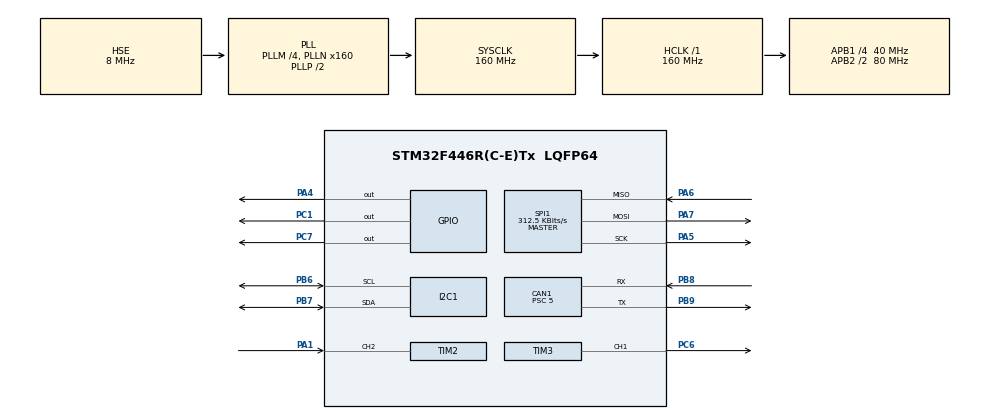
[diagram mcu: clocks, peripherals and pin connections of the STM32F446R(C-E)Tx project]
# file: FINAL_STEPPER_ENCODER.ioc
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CAN1.BS1=CAN_BS1_6TQ
CAN1.CalculateBaudRate=1000000
CAN1.CalculateTimeBit=1000
CAN1.CalculateTimeQuantum=125.0
CAN1.NART=ENABLE
CAN1.Prescaler=5
Mcu.Family=STM32F4
Mcu.Name=STM32F446R(C-E)Tx
Mcu.Package=LQFP64
NVIC.CAN1_RX0_IRQn=true\:0\:0\:false\:false\:true\:true\:true
NVIC.PriorityGroup=NVIC_PRIORITYGROUP_4
NVIC.TIM2_IRQn=true\:0\:0\:false\:false\:true\:true\:true
NVIC.TIM7_IRQn=true\:0\:0\:false\:false\:true\:true\:true
PA1.Signal=S_TIM2_CH2
PA13.Mode=Serial_Wire
PA13.Signal=SYS_JTMS-SWDIO
PA14.Mode=Serial_Wire
PA14.Signal=SYS_JTCK-SWCLK
PA4.Signal=GPIO_Output
PA5.Mode=Full_Duplex_Master
PA5.Signal=SPI1_SCK
PA6.Mode=Full_Duplex_Master
PA6.Signal=SPI1_MISO
PA7.Mode=Full_Duplex_Master
PA7.Signal=SPI1_MOSI
PB6.Mode=I2C
PB6.Signal=I2C1_SCL
PB7.Mode=I2C
PB7.Signal=I2C1_SDA
PB8.Mode=CAN_Activate
PB8.Signal=CAN1_RX
PB9.Mode=CAN_Activate
PB9.Signal=CAN1_TX
PC1.Signal=GPIO_Output
PC6.Signal=S_TIM3_CH1
PC7.Signal=GPIO_Output
PH0-OSC_IN.Mode=HSE-External-Oscillator
PH0-OSC_IN.Signal=RCC_OSC_IN
PH1-OSC_OUT.Mode=HSE-External-Oscillator
PH1-OSC_OUT.Signal=RCC_OSC_OUT
ProjectManager.HeapSize=0x2000
ProjectManager.StackSize=0x4000
ProjectManager.TargetToolchain=STM32CubeIDE
RCC.AHBFreq_Value=160000000
RCC.APB1CLKDivider=RCC_HCLK_DIV4
RCC.APB1Freq_Value=40000000
RCC.APB1TimFreq_Value=80000000
RCC.APB2CLKDivider=RCC_HCLK_DIV2
RCC.APB2Freq_Value=80000000
RCC.APB2TimFreq_Value=160000000
RCC.CortexFreq_Value=160000000
RCC.HCLKFreq_Value=160000000
RCC.HSE_VALUE=8000000
RCC.PLLM=4
RCC.PLLN=160
RCC.PLLSourceVirtual=RCC_PLLSOURCE_HSE
RCC.SYSCLKFreq_VALUE=160000000
RCC.SYSCLKSource=RCC_SYSCLKSOURCE_PLLCLK
RCC.USBFreq_Value=160000000
RCC.VCOOutputFreq_Value=320000000
SH.S_TIM2_CH2.0=TIM2_CH2,TriggerSource_TI2FP2
SH.S_TIM3_CH1.0=TIM3_CH1,PWM Generation1 CH1
SPI1.BaudRatePrescaler=SPI_BAUDRATEPRESCALER_256
SPI1.CLKPhase=SPI_PHASE_2EDGE
SPI1.CLKPolarity=SPI_POLARITY_HIGH
SPI1.CalculateBaudRate=312.5 KBits/s
SPI1.DataSize=SPI_DATASIZE_16BIT
SPI1.Direction=SPI_DIRECTION_2LINES
SPI1.Mode=SPI_MODE_MASTER
SPI1.VirtualType=VM_MASTER
TIM2.Period=1
TIM3.Channel-Output\ Compare2\ No\ Output=TIM_CHANNEL_2
TIM3.Channel-PWM\ Generation1\ CH1=TIM_CHANNEL_1
TIM3.OCMode_2=TIM_OCMODE_ACTIVE
TIM3.Prescaler=24
TIM3.TIM_MasterOutputTrigger=TIM_TRGO_OC2REF
TIM7.Period=15999
TIM7.Prescaler=249
VP_TIM2_VS_ControllerModeClock.Mode=Clock Mode
VP_TIM3_VS_no_output2.Mode=Output Compare2 No Output
VP_TIM7_VS_ClockSourceINT.Mode=Enable_Timer
board=custom

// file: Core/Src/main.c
/* USER CODE BEGIN Header */
/**
  ******************************************************************************
  * @file           : main.c
  * @brief          : Main program body
  ******************************************************************************
  * @attention
  *
  * Copyright (c) 2022 STMicroelectronics.
  * All rights reserved.
  *
  * This software is licensed under terms that can be found in the LICENSE file
  * in the root directory of this software component.
  * If no LICENSE file comes with this software, it is provided AS-IS.
  *
  ******************************************************************************
  */
/* USER CODE END Header */
#include "main.h"

CAN_HandleTypeDef hcan1;

I2C_HandleTypeDef hi2c1;

SPI_HandleTypeDef hspi1;

TIM_HandleTypeDef htim2;
TIM_HandleTypeDef htim3;
TIM_HandleTypeDef htim7;

/* USER CODE BEGIN PV */
// CAN Variables
uint8_t TxData[8];					// Data to be sent via CAN
uint64_t TxMailbox;					// CAN temporary mailbox. Required by HAL function
CAN_TxHeaderTypeDef TxHeader;		// Header for can message
CAN_FilterTypeDef canfilterconfig;	// Filter for receiving CAN messages
uint8_t RxData[8];					// data received from can bus
CAN_RxHeaderTypeDef   RxHeader;		// header received by can bus

//CAN Functions
int CAN_Header_Config(CAN_TxHeaderTypeDef* TxHeader);	// Configures CAN message header.
int CAN_Filter_Config(CAN_FilterTypeDef* canfilterconfig);	// COnfigures filter for CAN message reception
int CAN_Starter(CAN_HandleTypeDef* hcan,CAN_FilterTypeDef* canfilterconfig);	//Starts CAN transmittions and receptions
void configure_tim7(); // configures tim7 prescaler and period, not updated during code genetration

// Variables for motor control and feedback
float angle_rad;	//current angle
float target_velocity = 0;
float target_angle = 0;
float velocity = 0;

// set to 1  if the last goal has been reached.
char goal_status = 0;
// set to 1  if the servo stall has been detected.
char stall_status = 0;

int stepper_step_denominator = 1;

// Functions for motor settings adjustment
void CTRL_Reg_Set();
void TORQUE_Reg_Set();
void STATUS_Reg_Set();
uint16_t RegAccess(uint8_t operation, uint8_t address, uint16_t value); // Sends or receives SPI message

// a bunch of flags to be check via debugger
int flag = 0;	// just a flag
// flag that is being incremented at every tim7 interrupt and reset to zero on CAN message reception.
// if flag_tim7 exceeds certain value (currently 20) the motor will stop.
// This has been implemented in order to prevent mass destruction
// if the computer that controls the motor stops working
int flag_tim7 = 0;
int flag_tim2 = 0;

/* USER CODE END PV */

void SystemClock_Config(void);
static void MX_GPIO_Init(void);
static void MX_CAN1_Init(void);
static void MX_SPI1_Init(void);
static void MX_TIM7_Init(void);
static void MX_I2C1_Init(void);
static void MX_TIM3_Init(void);
static void MX_TIM2_Init(void);

int main(void)
{

  /* MCU Configuration--------------------------------------------------------*/

  /* Reset of all peripherals, Initializes the Flash interface and the Systick. */
  HAL_Init();

  /* Configure the system clock */
  SystemClock_Config();

  /* Initialize all configured peripherals */
  MX_GPIO_Init();
  MX_CAN1_Init();
  MX_SPI1_Init();
  MX_TIM7_Init();
  MX_I2C1_Init();
  MX_TIM3_Init();
  MX_TIM2_Init();
  /* USER CODE BEGIN 2 */
  // initialize motor
    HAL_GPIO_WritePin(GPIOC, GPIO_PIN_1, GPIO_PIN_SET);
    HAL_Delay(1);
    TORQUE_Reg_Set();
    HAL_Delay(1);
    CTRL_Reg_Set();

    // encoder does not require initialization

    //initialize CAN
    CAN_Header_Config(&TxHeader);		// Sets header values
    CAN_Filter_Config(&canfilterconfig);// Seds filter values
    CAN_Starter(&hcan1, &canfilterconfig); // starts can

    // enable user timer interrupt
    configure_tim7();
    HAL_TIM_Base_Start_IT(&htim7);
    HAL_TIM_Base_Start_IT(&htim2);
    //start motor PWM
    HAL_TIM_PWM_Start(&htim3, TIM_CHANNEL_1);

  /* USER CODE END 2 */

  /* Infinite loop */
  while (1)
  {
  }
}

void SystemClock_Config(void)
{
  RCC_OscInitTypeDef RCC_OscInitStruct = {0};
  RCC_ClkInitTypeDef RCC_ClkInitStruct = {0};

  /** Configure the main internal regulator output voltage
  */
  __HAL_RCC_PWR_CLK_ENABLE();
  __HAL_PWR_VOLTAGESCALING_CONFIG(PWR_REGULATOR_VOLTAGE_SCALE1);
  /** Initializes the RCC Oscillators according to the specified parameters
  * in the RCC_OscInitTypeDef structure.
  */
  RCC_OscInitStruct.OscillatorType = RCC_OSCILLATORTYPE_HSE;
  RCC_OscInitStruct.HSEState = RCC_HSE_ON;
  RCC_OscInitStruct.PLL.PLLState = RCC_PLL_ON;
  RCC_OscInitStruct.PLL.PLLSource = RCC_PLLSOURCE_HSE;
  RCC_OscInitStruct.PLL.PLLM = 4;
  RCC_OscInitStruct.PLL.PLLN = 160;
  RCC_OscInitStruct.PLL.PLLP = RCC_PLLP_DIV2;
  RCC_OscInitStruct.PLL.PLLQ = 2;
  RCC_OscInitStruct.PLL.PLLR = 2;
  if (HAL_RCC_OscConfig(&RCC_OscInitStruct) != HAL_OK)
  {
    Error_Handler();
  }
  /** Initializes the CPU, AHB and APB buses clocks
  */
  RCC_ClkInitStruct.ClockType = RCC_CLOCKTYPE_HCLK|RCC_CLOCKTYPE_SYSCLK
                              |RCC_CLOCKTYPE_PCLK1|RCC_CLOCKTYPE_PCLK2;
  RCC_ClkInitStruct.SYSCLKSource = RCC_SYSCLKSOURCE_PLLCLK;
  RCC_ClkInitStruct.AHBCLKDivider = RCC_SYSCLK_DIV1;
  RCC_ClkInitStruct.APB1CLKDivider = RCC_HCLK_DIV4;
  RCC_ClkInitStruct.APB2CLKDivider = RCC_HCLK_DIV2;

  if (HAL_RCC_ClockConfig(&RCC_ClkInitStruct, FLASH_LATENCY_5) != HAL_OK)
  {
    Error_Handler();
  }
}

static void MX_CAN1_Init(void)
{

  hcan1.Instance = CAN1;
  hcan1.Init.Prescaler = 5;
  hcan1.Init.Mode = CAN_MODE_NORMAL;
  hcan1.Init.SyncJumpWidth = CAN_SJW_1TQ;
  hcan1.Init.TimeSeg1 = CAN_BS1_6TQ;
  hcan1.Init.TimeSeg2 = CAN_BS2_1TQ;
  hcan1.Init.TimeTriggeredMode = DISABLE;
  hcan1.Init.AutoBusOff = DISABLE;
  hcan1.Init.AutoWakeUp = DISABLE;
  hcan1.Init.AutoRetransmission = ENABLE;
  hcan1.Init.ReceiveFifoLocked = DISABLE;
  hcan1.Init.TransmitFifoPriority = DISABLE;
  if (HAL_CAN_Init(&hcan1) != HAL_OK)
  {
    Error_Handler();
  }

}

static void MX_I2C1_Init(void)
{

  hi2c1.Instance = I2C1;
  hi2c1.Init.ClockSpeed = 100000;
  hi2c1.Init.DutyCycle = I2C_DUTYCYCLE_2;
  hi2c1.Init.OwnAddress1 = 0;
  hi2c1.Init.AddressingMode = I2C_ADDRESSINGMODE_7BIT;
  hi2c1.Init.DualAddressMode = I2C_DUALADDRESS_DISABLE;
  hi2c1.Init.OwnAddress2 = 0;
  hi2c1.Init.GeneralCallMode = I2C_GENERALCALL_DISABLE;
  hi2c1.Init.NoStretchMode = I2C_NOSTRETCH_DISABLE;
  if (HAL_I2C_Init(&hi2c1) != HAL_OK)
  {
    Error_Handler();
  }

}

static void MX_SPI1_Init(void)
{

  /* SPI1 parameter configuration*/
  hspi1.Instance = SPI1;
  hspi1.Init.Mode = SPI_MODE_MASTER;
  hspi1.Init.Direction = SPI_DIRECTION_2LINES;
  hspi1.Init.DataSize = SPI_DATASIZE_16BIT;
  hspi1.Init.CLKPolarity = SPI_POLARITY_HIGH;
  hspi1.Init.CLKPhase = SPI_PHASE_2EDGE;
  hspi1.Init.NSS = SPI_NSS_SOFT;
  hspi1.Init.BaudRatePrescaler = SPI_BAUDRATEPRESCALER_256;
  hspi1.Init.FirstBit = SPI_FIRSTBIT_MSB;
  hspi1.Init.TIMode = SPI_TIMODE_DISABLE;
  hspi1.Init.CRCCalculation = SPI_CRCCALCULATION_DISABLE;
  hspi1.Init.CRCPolynomial = 10;
  if (HAL_SPI_Init(&hspi1) != HAL_OK)
  {
    Error_Handler();
  }

}

static void MX_TIM2_Init(void)
{

  TIM_SlaveConfigTypeDef sSlaveConfig = {0};
  TIM_MasterConfigTypeDef sMasterConfig = {0};

  htim2.Instance = TIM2;
  htim2.Init.Prescaler = 0;
  htim2.Init.CounterMode = TIM_COUNTERMODE_UP;
  htim2.Init.Period = 1;
  htim2.Init.ClockDivision = TIM_CLOCKDIVISION_DIV1;
  htim2.Init.AutoReloadPreload = TIM_AUTORELOAD_PRELOAD_DISABLE;
  if (HAL_TIM_Base_Init(&htim2) != HAL_OK)
  {
    Error_Handler();
  }
  sSlaveConfig.SlaveMode = TIM_SLAVEMODE_EXTERNAL1;
  sSlaveConfig.InputTrigger = TIM_TS_TI2FP2;
  sSlaveConfig.TriggerPolarity = TIM_TRIGGERPOLARITY_RISING;
  sSlaveConfig.TriggerFilter = 0;
  if (HAL_TIM_SlaveConfigSynchro(&htim2, &sSlaveConfig) != HAL_OK)
  {
    Error_Handler();
  }
  sMasterConfig.MasterOutputTrigger = TIM_TRGO_RESET;
  sMasterConfig.MasterSlaveMode = TIM_MASTERSLAVEMODE_DISABLE;
  if (HAL_TIMEx_MasterConfigSynchronization(&htim2, &sMasterConfig) != HAL_OK)
  {
    Error_Handler();
  }

}

static void MX_TIM3_Init(void)
{

  TIM_MasterConfigTypeDef sMasterConfig = {0};
  TIM_OC_InitTypeDef sConfigOC = {0};

  htim3.Instance = TIM3;
  htim3.Init.Prescaler = 24;
  htim3.Init.CounterMode = TIM_COUNTERMODE_UP;
  htim3.Init.Period = 65535;
  htim3.Init.ClockDivision = TIM_CLOCKDIVISION_DIV1;
  htim3.Init.AutoReloadPreload = TIM_AUTORELOAD_PRELOAD_DISABLE;
  if (HAL_TIM_PWM_Init(&htim3) != HAL_OK)
  {
    Error_Handler();
  }
  if (HAL_TIM_OC_Init(&htim3) != HAL_OK)
  {
    Error_Handler();
  }
  sMasterConfig.MasterOutputTrigger = TIM_TRGO_OC2REF;
  sMasterConfig.MasterSlaveMode = TIM_MASTERSLAVEMODE_DISABLE;
  if (HAL_TIMEx_MasterConfigSynchronization(&htim3, &sMasterConfig) != HAL_OK)
  {
    Error_Handler();
  }
  sConfigOC.OCMode = TIM_OCMODE_PWM1;
  sConfigOC.Pulse = 0;
  sConfigOC.OCPolarity = TIM_OCPOLARITY_HIGH;
  sConfigOC.OCFastMode = TIM_OCFAST_DISABLE;
  if (HAL_TIM_PWM_ConfigChannel(&htim3, &sConfigOC, TIM_CHANNEL_1) != HAL_OK)
  {
    Error_Handler();
  }
  sConfigOC.OCMode = TIM_OCMODE_ACTIVE;
  if (HAL_TIM_OC_ConfigChannel(&htim3, &sConfigOC, TIM_CHANNEL_2) != HAL_OK)
  {
    Error_Handler();
  }
  HAL_TIM_MspPostInit(&htim3);

}

static void MX_TIM7_Init(void)
{

  TIM_MasterConfigTypeDef sMasterConfig = {0};

  htim7.Instance = TIM7;
  htim7.Init.Prescaler = 249;
  htim7.Init.CounterMode = TIM_COUNTERMODE_UP;
  htim7.Init.Period = 15999;
  htim7.Init.AutoReloadPreload = TIM_AUTORELOAD_PRELOAD_DISABLE;
  if (HAL_TIM_Base_Init(&htim7) != HAL_OK)
  {
    Error_Handler();
  }
  sMasterConfig.MasterOutputTrigger = TIM_TRGO_RESET;
  sMasterConfig.MasterSlaveMode = TIM_MASTERSLAVEMODE_DISABLE;
  if (HAL_TIMEx_MasterConfigSynchronization(&htim7, &sMasterConfig) != HAL_OK)
  {
    Error_Handler();
  }

}

static void MX_GPIO_Init(void)
{
  GPIO_InitTypeDef GPIO_InitStruct = {0};

  /* GPIO Ports Clock Enable */
  __HAL_RCC_GPIOH_CLK_ENABLE();
  __HAL_RCC_GPIOC_CLK_ENABLE();
  __HAL_RCC_GPIOA_CLK_ENABLE();
  __HAL_RCC_GPIOB_CLK_ENABLE();

  /*Configure GPIO pin Output Level */
  HAL_GPIO_WritePin(GPIOC, GPIO_PIN_1|GPIO_PIN_7, GPIO_PIN_RESET);

  /*Configure GPIO pin Output Level */
  HAL_GPIO_WritePin(GPIOA, GPIO_PIN_4, GPIO_PIN_RESET);

  /*Configure GPIO pins : PC1 PC7 */
  GPIO_InitStruct.Pin = GPIO_PIN_1|GPIO_PIN_7;
  GPIO_InitStruct.Mode = GPIO_MODE_OUTPUT_PP;
  GPIO_InitStruct.Pull = GPIO_NOPULL;
  GPIO_InitStruct.Speed = GPIO_SPEED_FREQ_LOW;
  HAL_GPIO_Init(GPIOC, &GPIO_InitStruct);

  /*Configure GPIO pin : PA4 */
  GPIO_InitStruct.Pin = GPIO_PIN_4;
  GPIO_InitStruct.Mode = GPIO_MODE_OUTPUT_PP;
  GPIO_InitStruct.Pull = GPIO_NOPULL;
  GPIO_InitStruct.Speed = GPIO_SPEED_FREQ_LOW;
  HAL_GPIO_Init(GPIOA, &GPIO_InitStruct);

}

/* USER CODE BEGIN 4 */

int CAN_Filter_Config(CAN_FilterTypeDef* canfilterconfig){
	canfilterconfig->FilterActivation = CAN_FILTER_ENABLE;
	canfilterconfig->FilterBank = 0;  // which filter bank to use from the assigned ones
	canfilterconfig->FilterFIFOAssignment = CAN_FILTER_FIFO0;
	canfilterconfig->FilterMode = CAN_FILTERMODE_IDMASK;
	canfilterconfig->FilterScale = CAN_FILTERSCALE_32BIT;
	canfilterconfig->FilterIdHigh = 0x0000;
	canfilterconfig->FilterIdLow = 0x0000;
	canfilterconfig->FilterMaskIdHigh = 0x0000;
	canfilterconfig->FilterMaskIdLow = 0x0000;
	canfilterconfig->SlaveStartFilterBank = 20;
	return 1;
}

int CAN_Header_Config(CAN_TxHeaderTypeDef* TxHeader){
	TxHeader->IDE = CAN_ID_STD;
	TxHeader->StdId = MY_CAN_ID;
	TxHeader->RTR = CAN_RTR_DATA;
	TxHeader->DLC = 8;
	return 1;
}

int CAN_Starter(CAN_HandleTypeDef* hcan,CAN_FilterTypeDef* canfilterconfig){
	if (HAL_CAN_ConfigFilter(hcan, canfilterconfig) != HAL_OK){		// attempting to register can filter
			Error_Handler();
		}
		if (HAL_CAN_Start(hcan) != HAL_OK){		// attempting to start CAN
			Error_Handler();
		}
		if (HAL_CAN_ActivateNotification(hcan, CAN_IT_RX_FIFO0_MSG_PENDING) != HAL_OK){	// attempting to enable CAN interrupts.
			Error_Handler();								// CAN1_RX0_IRQHandler() is called when an interrupt is triggered
		}
	return 1;
}

void CTRL_Reg_Set(){
	uint16_t TX = 0x0000;
	TX += (0x03 << 10); // 850 ns dead time
	TX += (0x03 << 8); // Gain of 40
	TX += (((int)sqrt(stepper_step_denominator)) << 3); // 1/4 step
	TX += 0x01 ; // Enable motor
	RegAccess(WRITE, 0x00, TX); // write CTRL Register (Address = 0x00)
	return;
}

void TORQUE_Reg_Set(){
	uint16_t TX = 0x0000;
	TX += (0x01 << 8); // sample time = 100 us
	TX += 0x01; // Torque = 0x3F
//	TX = 0b0001000100000001;
	RegAccess(WRITE, 0x01, TX); // write TORQUE Register (Address = 0x01)
	return;
}

void STATUS_Reg_Set(){
	RegAccess(WRITE, 0x07, 0x0000); // write STATUS Register (Address = 0x00)
}

uint16_t RegAccess(uint8_t operation, uint8_t address, uint16_t value)
{
  uint16_t parcel = value;

  parcel += (address << 12); // register address
  parcel += (operation << 15); // read-write operation choice

  uint16_t received = 0;

  HAL_GPIO_WritePin(GPIOA, GPIO_PIN_4, GPIO_PIN_SET);
 // HAL_Delay(1);
  HAL_SPI_TransmitReceive(&hspi1, (uint8_t*)&parcel, (uint8_t*)&received, 1, 1000);
 // HAL_Delay(1);
  HAL_GPIO_WritePin(GPIOA, GPIO_PIN_4, GPIO_PIN_RESET);
 // HAL_Delay(1);
  received &= ~0xF000; // clear upper 4 bits, leave lower 12 bits

  return received;
}

void configure_tim7(){
	TIM7->PSC = USER_TIMER_PRESCALER;
	TIM7->ARR = USER_TIMER_PERIOD;
	return;
}
/* USER CODE END 4 */

void Error_Handler(void)
{
  __disable_irq();
  while (1)
  {
  }
}
